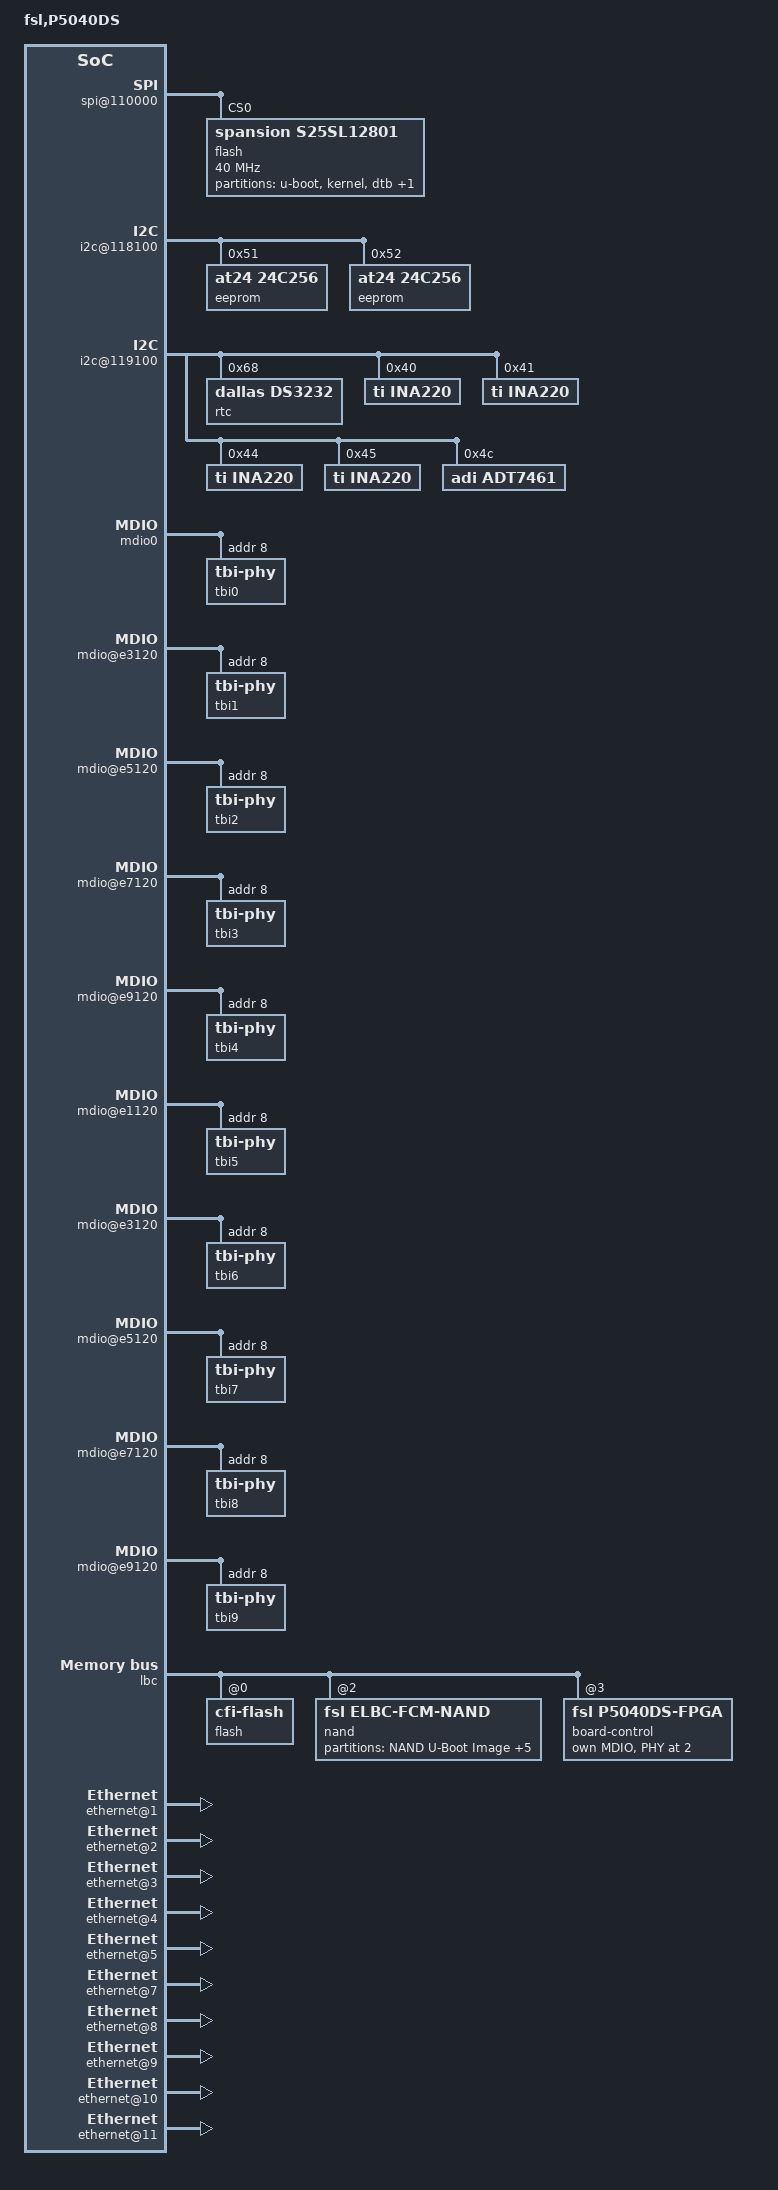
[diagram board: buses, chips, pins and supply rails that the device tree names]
/*
 * P5040DS Device Tree Source
 *
 * Copyright 2012 - 2016 Freescale Semiconductor Inc.
 *
 * Redistribution and use in source and binary forms, with or without
 * modification, are permitted provided that the following conditions are met:
 *     * Redistributions of source code must retain the above copyright
 *	 notice, this list of conditions and the following disclaimer.
 *     * Redistributions in binary form must reproduce the above copyright
 *	 notice, this list of conditions and the following disclaimer in the
 *	 documentation and/or other materials provided with the distribution.
 *     * Neither the name of Freescale Semiconductor nor the
 *	 names of its contributors may be used to endorse or promote products
 *	 derived from this software without specific prior written permission.
 *
 *
 * ALTERNATIVELY, this software may be distributed under the terms of the
 * GNU General Public License ("GPL") as published by the Free Software
 * Foundation, either version 2 of that License or (at your option) any
 * later version.
 *
 * This software is provided by Freescale Semiconductor "as is" and any
 * express or implied warranties, including, but not limited to, the implied
 * warranties of merchantability and fitness for a particular purpose are
 * disclaimed. In no event shall Freescale Semiconductor be liable for any
 * direct, indirect, incidental, special, exemplary, or consequential damages
 * (including, but not limited to, procurement of substitute goods or services;
 * loss of use, data, or profits; or business interruption) however caused and
 * on any theory of liability, whether in contract, strict liability, or tort
 * (including negligence or otherwise) arising in any way out of the use of this
 * software, even if advised of the possibility of such damage.
 */

/include/ "p5040si-pre.dtsi"

/ {
	model = "fsl,P5040DS";
	compatible = "fsl,P5040DS";
	#address-cells = <2>;
	#size-cells = <2>;
	interrupt-parent = <&mpic>;

	aliases {
		ethernet0 = &fm1dtsec1;
		ethernet1 = &fm1dtsec2;
		ethernet2 = &fm1dtsec3;
		ethernet3 = &fm1dtsec4;
		ethernet4 = &fm1dtsec5;
		ethernet5 = &fm1tgec;
		ethernet6 = &fm2dtsec1;
		ethernet7 = &fm2dtsec2;
		ethernet8 = &fm2dtsec3;
		ethernet9 = &fm2dtsec4;
		ethernet10 = &fm2dtsec5;
		ethernet11 = &fm2tgec;

		phy_sgmii_slot2_1c = &phy_sgmii_slot2_1c;
		phy_sgmii_slot2_1d = &phy_sgmii_slot2_1d;
		phy_sgmii_slot2_1e = &phy_sgmii_slot2_1e;
		phy_sgmii_slot2_1f = &phy_sgmii_slot2_1f;

		phy_sgmii_slot3_1c = &phy_sgmii_slot3_1c;
		phy_sgmii_slot3_1d = &phy_sgmii_slot3_1d;
		phy_sgmii_slot3_1e = &phy_sgmii_slot3_1e;
		phy_sgmii_slot3_1f = &phy_sgmii_slot3_1f;

		phy_sgmii_slot5_1c = &phy_sgmii_slot5_1c;
		phy_sgmii_slot5_1d = &phy_sgmii_slot5_1d;
		phy_sgmii_slot5_1e = &phy_sgmii_slot5_1e;
		phy_sgmii_slot5_1f = &phy_sgmii_slot5_1f;

		phy_sgmii_slot6_1c = &phy_sgmii_slot6_1c;
		phy_sgmii_slot6_1d = &phy_sgmii_slot6_1d;
		phy_sgmii_slot6_1e = &phy_sgmii_slot6_1e;
		phy_sgmii_slot6_1f = &phy_sgmii_slot6_1f;

		hydra_rg = &hydra_rg;
		hydra_sg_slot2 = &hydra_sg_slot2;
		hydra_sg_slot3 = &hydra_sg_slot3;
		hydra_sg_slot5 = &hydra_sg_slot5;
		hydra_sg_slot6 = &hydra_sg_slot6;
		hydra_xg_slot1 = &hydra_xg_slot1;
		hydra_xg_slot2 = &hydra_xg_slot2;
	};

	memory {
		device_type = "memory";
	};

	reserved-memory {
		#address-cells = <2>;
		#size-cells = <2>;
		ranges;

		bman_fbpr: bman-fbpr {
			size = <0 0x1000000>;
			alignment = <0 0x1000000>;
		};
		qman_fqd: qman-fqd {
			size = <0 0x800000>;
			alignment = <0 0x800000>;
		};
		qman_pfdr: qman-pfdr {
			size = <0 0x2000000>;
			alignment = <0 0x2000000>;
		};
	};

	dcsr: dcsr@f00000000 {
		ranges = <0x00000000 0xf 0x00000000 0x01008000>;
	};

	bportals: bman-portals@ff4000000 {
		ranges = <0x0 0xf 0xf4000000 0x200000>;
	};

	qportals: qman-portals@ff4200000 {
		ranges = <0x0 0xf 0xf4200000 0x200000>;
	};

	soc: soc@ffe000000 {
		ranges = <0x00000000 0xf 0xfe000000 0x1000000>;
		reg = <0xf 0xfe000000 0 0x00001000>;
		spi@110000 {
			flash@0 {
				#address-cells = <1>;
				#size-cells = <1>;
				compatible = "spansion,s25sl12801", "jedec,spi-nor";
				reg = <0>;
				spi-max-frequency = <40000000>; /* input clock */
				partition@u-boot {
					label = "u-boot";
					reg = <0x00000000 0x00100000>;
				};
				partition@kernel {
					label = "kernel";
					reg = <0x00100000 0x00500000>;
				};
				partition@dtb {
					label = "dtb";
					reg = <0x00600000 0x00100000>;
				};
				partition@fs {
					label = "file system";
					reg = <0x00700000 0x00900000>;
				};
			};
		};

		i2c@118100 {
			eeprom@51 {
				compatible = "at24,24c256";
				reg = <0x51>;
			};
			eeprom@52 {
				compatible = "at24,24c256";
				reg = <0x52>;
			};
		};

		i2c@119100 {
			rtc@68 {
				compatible = "dallas,ds3232";
				reg = <0x68>;
				interrupts = <0x1 0x1 0 0>;
			};
			ina220@40 {
				compatible = "ti,ina220";
				reg = <0x40>;
				shunt-resistor = <1000>;
			};
			ina220@41 {
				compatible = "ti,ina220";
				reg = <0x41>;
				shunt-resistor = <1000>;
			};
			ina220@44 {
				compatible = "ti,ina220";
				reg = <0x44>;
				shunt-resistor = <1000>;
			};
			ina220@45 {
				compatible = "ti,ina220";
				reg = <0x45>;
				shunt-resistor = <1000>;
			};
			adt7461@4c {
				compatible = "adi,adt7461";
				reg = <0x4c>;
			};
		};

		fman0: fman@400000 {
			fm1dtsec1: ethernet@e0000 {
				tbi-handle = <&tbi0>;
				phy-connection-type = "sgmii";
			};

			mdio0: mdio@e1120 {
				tbi0: tbi-phy@8 {
					reg = <0x8>;
					device_type = "tbi-phy";
				};
			};

			fm1dtsec2: ethernet@e2000 {
				tbi-handle = <&tbi1>;
				phy-connection-type = "sgmii";
			};

			mdio@e3120 {
				tbi1: tbi-phy@8 {
					reg = <8>;
					device_type = "tbi-phy";
				};
			};

			fm1dtsec3: ethernet@e4000 {
				tbi-handle = <&tbi2>;
				phy-connection-type = "sgmii";
			};

			mdio@e5120 {
				tbi2: tbi-phy@8 {
					reg = <8>;
					device_type = "tbi-phy";
				};
			};

			fm1dtsec4: ethernet@e6000 {
				tbi-handle = <&tbi3>;
				phy-connection-type = "sgmii";
			};

			mdio@e7120 {
				#address-cells = <1>;
				#size-cells = <0>;
				tbi3: tbi-phy@8 {
					reg = <8>;
					device_type = "tbi-phy";
				};
			};

			fm1dtsec5: ethernet@e8000 {
				tbi-handle = <&tbi4>;
				phy-handle = <&phy_rgmii_0>;
				phy-connection-type = "rgmii";
			};

			mdio@e9120 {
				tbi4: tbi-phy@8 {
					reg = <8>;
					device_type = "tbi-phy";
				};
			};

			fm1tgec: ethernet@f0000 {
				phy-handle = <&phy_xgmii_slot_2>;
				phy-connection-type = "xgmii";
			};

			xmdio0: mdio@f1000 {
			};

		};

		fman1: fman@500000 {
			fm2dtsec1: ethernet@e0000 {
				tbi-handle = <&tbi5>;
				phy-connection-type = "sgmii";
			};

			mdio@e1120 {
				tbi5: tbi-phy@8 {
					reg = <8>;
					device_type = "tbi-phy";
				};
			};

			fm2dtsec2: ethernet@e2000 {
				tbi-handle = <&tbi6>;
				phy-connection-type = "sgmii";
			};

			mdio@e3120 {
				tbi6: tbi-phy@8 {
					reg = <8>;
					device_type = "tbi-phy";
				};
			};

			fm2dtsec3: ethernet@e4000 {
				tbi-handle = <&tbi7>;
				phy-connection-type = "sgmii";
			};

			mdio@e5120 {
				tbi7: tbi-phy@8 {
					reg = <8>;
					device_type = "tbi-phy";
				};
			};

			fm2dtsec4: ethernet@e6000 {
				tbi-handle = <&tbi8>;
				phy-connection-type = "sgmii";
			};

			mdio@e7120 {
				tbi8: tbi-phy@8 {
					reg = <8>;
					device_type = "tbi-phy";
				};
			};

			fm2dtsec5: ethernet@e8000 {
				tbi-handle = <&tbi9>;
				phy-handle = <&phy_rgmii_1>;
				phy-connection-type = "rgmii";
			};

			mdio@e9120 {
				tbi9: tbi-phy@8 {
					reg = <8>;
					device_type = "tbi-phy";
				};
			};

			fm2tgec: ethernet@f0000 {
				phy-handle = <&phy_xgmii_slot_1>;
				phy-connection-type = "xgmii";
			};
		};
	};

	lbc: localbus@ffe124000 {
		reg = <0xf 0xfe124000 0 0x1000>;
		ranges = <0 0 0xf 0xe8000000 0x08000000
			  2 0 0xf 0xffa00000 0x00040000
			  3 0 0xf 0xffdf0000 0x00008000>;

		flash@0,0 {
			compatible = "cfi-flash";
			reg = <0 0 0x08000000>;
			bank-width = <2>;
			device-width = <2>;
		};

		nand@2,0 {
			#address-cells = <1>;
			#size-cells = <1>;
			compatible = "fsl,elbc-fcm-nand";
			reg = <0x2 0x0 0x40000>;

			partition@0 {
				label = "NAND U-Boot Image";
				reg = <0x0 0x02000000>;
			};

			partition@2000000 {
				label = "NAND Root File System";
				reg = <0x02000000 0x10000000>;
			};

			partition@12000000 {
				label = "NAND Compressed RFS Image";
				reg = <0x12000000 0x08000000>;
			};

			partition@1a000000 {
				label = "NAND Linux Kernel Image";
				reg = <0x1a000000 0x04000000>;
			};

			partition@1e000000 {
				label = "NAND DTB Image";
				reg = <0x1e000000 0x01000000>;
			};

			partition@1f000000 {
				label = "NAND Writable User area";
				reg = <0x1f000000 0x01000000>;
			};
		};

		board-control@3,0 {
			#address-cells = <1>;
			#size-cells = <1>;
			compatible = "fsl,p5040ds-fpga", "fsl,fpga-ngpixis";
			reg = <3 0 0x30>;
			ranges = <0 3 0 0x30>;

			mdio-mux-emi1 {
				compatible = "mdio-mux-mmioreg", "mdio-mux";
				mdio-parent-bus = <&mdio0>;
				#address-cells = <1>;
				#size-cells = <0>;
				reg = <9 1>; // BRDCFG1
				mux-mask = <0x78>; // EMI1

				/*
				 * Virtual MDIO for the two on-board RGMII
				 * ports.  The reg property is already correct.
				 */
				hydra_rg: rgmii-mdio@8 {
					status = "disabled";
					reg = <8>; /* EMI1_EN | 0 */
					#address-cells = <1>;
					#size-cells = <0>;

					phy_rgmii_0: ethernet-phy@0 {
						reg = <0x0>;
					};
					phy_rgmii_1: ethernet-phy@1 {
						reg = <0x1>;
					};
				};
				/*
				 * Virtual MDIO for the four-port SGMII cards.
				 */
				hydra_sg_slot2: sgmii-mdio@28 {
					reg = <0x28>; /* EMI1_EN | 0x20 */
					#address-cells = <1>;
					#size-cells = <0>;
					status = "disabled";

					phy_sgmii_slot2_1c: ethernet-phy@1c {
						reg = <0x1c>;
					};
					phy_sgmii_slot2_1d: ethernet-phy@1d {
						reg = <0x1d>;
					};
					phy_sgmii_slot2_1e: ethernet-phy@1e {
						reg = <0x1e>;
					};
					phy_sgmii_slot2_1f: ethernet-phy@1f {
						reg = <0x1f>;
					};
				};
				hydra_sg_slot3: sgmii-mdio@68 {
					reg = <0x68>; /* EMI1_EN | 0x60 */
					#address-cells = <1>;
					#size-cells = <0>;
					status = "disabled";

					phy_sgmii_slot3_1c: ethernet-phy@1c {
						reg = <0x1c>;
					};
					phy_sgmii_slot3_1d: ethernet-phy@1d {
						reg = <0x1d>;
					};
					phy_sgmii_slot3_1e: ethernet-phy@1e {
						reg = <0x1e>;
					};
					phy_sgmii_slot3_1f: ethernet-phy@1f {
						reg = <0x1f>;
					};
				};
				hydra_sg_slot5: sgmii-mdio@38 {
					reg = <0x38>; /* EMI1_EN | 0x30 */
					#address-cells = <1>;
					#size-cells = <0>;
					status = "disabled";

					phy_sgmii_slot5_1c: ethernet-phy@1c {
						reg = <0x1c>;
					};
					phy_sgmii_slot5_1d: ethernet-phy@1d {
						reg = <0x1d>;
					};
					phy_sgmii_slot5_1e: ethernet-phy@1e {
						reg = <0x1e>;
					};
					phy_sgmii_slot5_1f: ethernet-phy@1f {
						reg = <0x1f>;
					};
				};
				hydra_sg_slot6: sgmii-mdio@48 {
					reg = <0x48>; /* EMI1_EN | 0x40 */
					#address-cells = <1>;
					#size-cells = <0>;
					status = "disabled";

					phy_sgmii_slot6_1c: ethernet-phy@1c {
						reg = <0x1c>;
					};
					phy_sgmii_slot6_1d: ethernet-phy@1d {
						reg = <0x1d>;
					};
					phy_sgmii_slot6_1e: ethernet-phy@1e {
						reg = <0x1e>;
					};
					phy_sgmii_slot6_1f: ethernet-phy@1f {
						reg = <0x1f>;
					};
				};
			};
			mdio-mux-emi2 {
				compatible = "mdio-mux-mmioreg", "mdio-mux";
				mdio-parent-bus = <&xmdio0>;
				#address-cells = <1>;
				#size-cells = <0>;
				reg = <9 1>; // BRDCFG1
				mux-mask = <0x06>; // EMI2

				/* FM2 10GEC1 is always on slot 1 */
				hydra_xg_slot1: hydra-xg-slot1@0 {
					#address-cells = <1>;
					#size-cells = <0>;
					reg = <0>;
					status = "disabled";

					phy_xgmii_slot_1: ethernet-phy@0 {
						compatible = "ethernet-phy-ieee802.3-c45";
						reg = <4>;
					};
				};

				/* FM1 10GEC1 is always on slot 2 */
				hydra_xg_slot2: hydra-xg-slot2@2 {
					#address-cells = <1>;
					#size-cells = <0>;
					reg = <2>;

					phy_xgmii_slot_2: ethernet-phy@4 {
						compatible = "ethernet-phy-ieee802.3-c45";
						reg = <0>;
					};
				};
			};
		};
	};

	pci0: pcie@ffe200000 {
		reg = <0xf 0xfe200000 0 0x1000>;
		ranges = <0x02000000 0 0xe0000000 0xc 0x00000000 0x0 0x20000000
			  0x01000000 0 0x00000000 0xf 0xf8000000 0x0 0x00010000>;
		pcie@0 {
			ranges = <0x02000000 0 0xe0000000
				  0x02000000 0 0xe0000000
				  0 0x20000000

				  0x01000000 0 0x00000000
				  0x01000000 0 0x00000000
				  0 0x00010000>;
		};
	};

	pci1: pcie@ffe201000 {
		reg = <0xf 0xfe201000 0 0x1000>;
		ranges = <0x02000000 0x0 0xe0000000 0xc 0x20000000 0x0 0x20000000
			  0x01000000 0x0 0x00000000 0xf 0xf8010000 0x0 0x00010000>;
		pcie@0 {
			ranges = <0x02000000 0 0xe0000000
				  0x02000000 0 0xe0000000
				  0 0x20000000

				  0x01000000 0 0x00000000
				  0x01000000 0 0x00000000
				  0 0x00010000>;
		};
	};

	pci2: pcie@ffe202000 {
		reg = <0xf 0xfe202000 0 0x1000>;
		ranges = <0x02000000 0 0xe0000000 0xc 0x40000000 0 0x20000000
			  0x01000000 0 0x00000000 0xf 0xf8020000 0 0x00010000>;
		pcie@0 {
			ranges = <0x02000000 0 0xe0000000
				  0x02000000 0 0xe0000000
				  0 0x20000000

				  0x01000000 0 0x00000000
				  0x01000000 0 0x00000000
				  0 0x00010000>;
		};
	};

	fsl,dpaa {
		compatible = "fsl,p5040-dpaa", "fsl,dpaa";

		ethernet@0 {
			compatible = "fsl,p5040-dpa-ethernet", "fsl,dpa-ethernet";
			fsl,fman-mac = <&fm1dtsec1>;
			status = "disabled";
		};
		ethernet@1 {
			compatible = "fsl,p5040-dpa-ethernet", "fsl,dpa-ethernet";
			fsl,fman-mac = <&fm1dtsec2>;
		};
		ethernet@2 {
			compatible = "fsl,p5040-dpa-ethernet", "fsl,dpa-ethernet";
			fsl,fman-mac = <&fm1dtsec3>;
		};
		ethernet@3 {
			compatible = "fsl,p5040-dpa-ethernet", "fsl,dpa-ethernet";
			fsl,fman-mac = <&fm1dtsec4>;
		};
		ethernet@4 {
			compatible = "fsl,p5040-dpa-ethernet", "fsl,dpa-ethernet";
			fsl,fman-mac = <&fm1dtsec5>;
		};
		ethernet@5 {
			compatible = "fsl,p5040-dpa-ethernet", "fsl,dpa-ethernet";
			fsl,fman-mac = <&fm1tgec>;
		};
		ethernet@6 {
			compatible = "fsl,p5040-dpa-ethernet", "fsl,dpa-ethernet";
			fsl,fman-mac = <&fm2dtsec1>;
			status = "disabled";
		};
		ethernet@7 {
			compatible = "fsl,p5040-dpa-ethernet", "fsl,dpa-ethernet";
			fsl,fman-mac = <&fm2dtsec2>;
		};
		ethernet@8 {
			compatible = "fsl,p5040-dpa-ethernet", "fsl,dpa-ethernet";
			fsl,fman-mac = <&fm2dtsec3>;
		};
		ethernet@9 {
			compatible = "fsl,p5040-dpa-ethernet", "fsl,dpa-ethernet";
			fsl,fman-mac = <&fm2dtsec4>;
		};
		ethernet@10 {
			compatible = "fsl,p5040-dpa-ethernet", "fsl,dpa-ethernet";
			fsl,fman-mac = <&fm2dtsec5>;
		};
		ethernet@11 {
			compatible = "fsl,p5040-dpa-ethernet", "fsl,dpa-ethernet";
			fsl,fman-mac = <&fm2tgec>;
		};
	};
};

/include/ "p5040si-post.dtsi"
/include/ "qoriq-dpaa-res1.dtsi"
